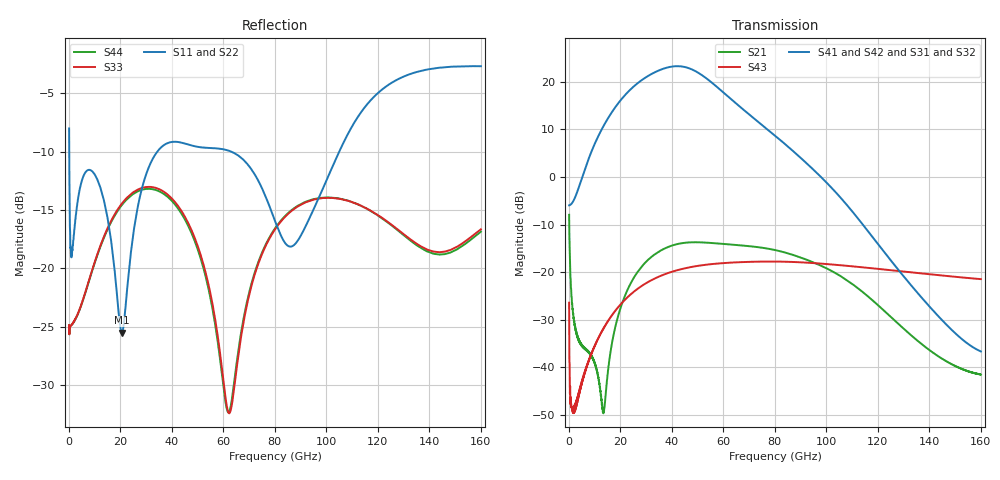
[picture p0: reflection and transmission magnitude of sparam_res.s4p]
! File created by SignalIntegrity v1.4.2: Signal and Power Integrity Tools
! https://github.com/Nubis-Communications/SignalIntegrity
# MHz S MA R 50.0
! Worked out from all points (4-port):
!   1600 points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, 100 MHz to 160 GHz, reference 50 ohm
!   strongest paths, dB at 100 MHz, 40.1 GHz, 80.1 GHz, 120.1 GHz, 160 GHz:
!     S41: -6.0, 23.2, 8.7, -14.1, -36.7
!     S42: -6.0, 23.2, 8.7, -14.0, -36.4
!     S31: -6.0, 23.2, 8.6, -14.1, -36.5
!     S32: -6.0, 23.2, 8.6, -14.2, -36.7
!     S43: -26.4, -19.9, -17.8, -19.3, -21.5
!     S21: -8.0, -14.4, -15.4, -27.0, -41.5
!   lowest |S11| = -25.5 dB at 20.5 GHz (marker M1), VSWR 1.11, Z = 54.5 + j3.18 ohm
!   |S11| at or under -10 dB: 147.6 MHz to 34.32 GHz (34.18 GHz wide, 198 % of centre); 63.13 GHz to 105 GHz (41.85 GHz wide, 49.8 % of centre)
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100  0.398 -45.1  0.4001 -42.5  1.026e-06 150.9  1.073e-06 150.3
     0.4001 -42.5  0.3981 -45.1  1.02e-06 151.6  1.068e-06 150.9
     0.5035 1.2  0.5032 -178.9  0.05705 151.2  0.04768 77.4
     0.5034 -178.8  0.5032 1.1  0.04764 77.4  0.05704 151.1
20500  0.05298 33.3  0.04591 81.4  0.0001053 47.1  0.0001089 47.2
       0.0453 82.0  0.05416 33.9  0.0001015 47.7  0.0001051 47.8
       6.589 -65.6  6.598 114.5  0.1889 -142.7  0.04921 -109.0
       6.606 114.7  6.605 -65.3  0.04696 -108.9  0.1863 -143.0
32900  0.2993 -104.2  0.1514 -12.0  0.0001624 3.8  0.000168 3.9
       0.1505 -11.7  0.2997 -104.0  0.0001578 4.7  0.0001634 4.8
       12.38 173.0  12.39 -6.9  0.2224 -165.4  0.08862 -155.9
       12.42 -6.6  12.42 173.5  0.08437 -155.3  0.218 -165.6
40800  0.3489 -130.3  0.1945 -65.7  0.0001984 -21.2  0.0002051 -21.0
       0.1927 -65.6  0.3502 -130.1  0.0001937 -20.4  0.0002005 -20.3
       14.49 88.7  14.51 -91.1  0.1948 179.5  0.107 177.2
       14.56 -90.8  14.56 89.3  0.1023 178.1  0.1902 179.5
47700  0.3362 -142.0  0.2079 -110.1  0.0002296 -50.8  0.0002374 -50.7
       0.2056 -109.7  0.3391 -142.1  0.0002245 -50.3  0.0002325 -50.1
       13.47 11.8  13.48 -167.9  0.1452 167.9  0.1181 155.6
       13.54 -167.5  13.54 12.5  0.1134 156.6  0.141 168.1
55600  0.3278 -148.4  0.2027 -156.4  0.0002059 -91.5  0.0002129 -91.3
       0.202 -155.8  0.3277 -148.8  0.0002012 -91.2  0.0002082 -91.0
       9.709 -70.2  9.709 110.1  0.07193 162.3  0.1259 133.0
       9.77 110.5  9.768 -69.4  0.1214 134.1  0.06867 163.4
160000  0.7358 -144.1  0.008396 -36.6  7.716e-05 -136.0  7.936e-05 -135.8
        0.008368 -36.4  0.7338 -143.8  7.548e-05 -136.5  7.802e-05 -136.4
        0.01493 -85.3  0.01464 97.5  0.1469 -75.4  0.08593 -89.9
        0.01465 98.3  0.01511 -83.2  0.08434 -89.5  0.1435 -75.0
